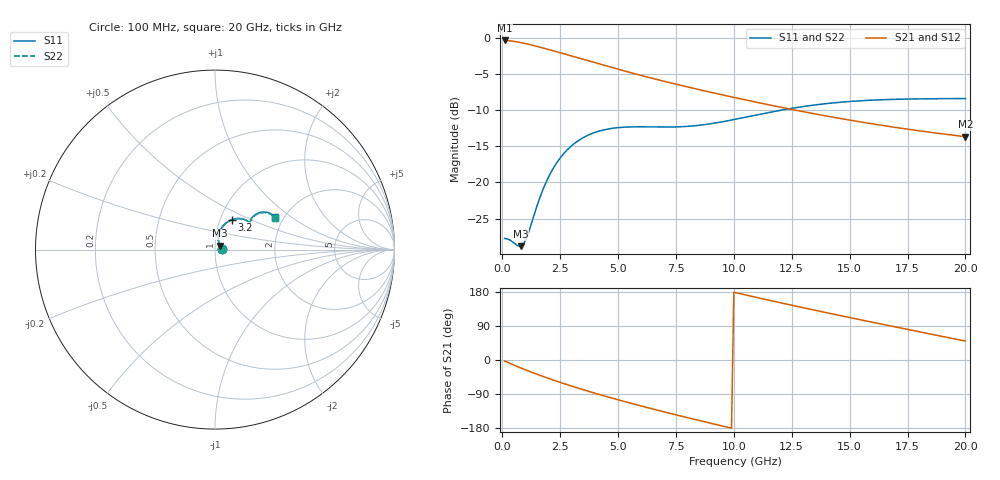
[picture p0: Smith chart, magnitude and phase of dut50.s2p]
! Touchstone file exported from HFSS 2023.1.0
!  File:  D:/Users/fzz/RDL_TSV/temp_RDL_TSV_50_1778745240.aedt
!  Generated:  4:04:11 %x4E0B%x5348  5%x6708 14, 2026
!  Design:  RDL_TSV
!  Project:  temp_RDL_TSV_50_1778745240
!  Setup:  Setup1
!  Solution:  Sweep
! Variables:
!  dtsv = 17.86um
!  hbump = 3um
!  htsv = 72.65um
!  ldown = 543.77um
!  lrdl = 639.32um
!  p = 40
!  p1 = 46.83um
!  rhole = 10um
!  subl = 4188.59um
!  t = 450um
!  tdown = 2.55um
!  trdl = 2.27um
!  viad = 10um
!  wdown = 12.67um
!  wrdl = 15.77um
!  xbump = 18um
# GHz S MA R 50.000000
! Terminal data exported
! Port[1] = TM1_1_T1
! Port[2] = TM1_4_T1
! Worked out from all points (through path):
!   200 points, 100 MHz to 20 GHz, reference 50 ohm
!   highest |S21| = -0.37 dB at 100 MHz (marker M1); lowest = -13.7 dB at 20 GHz (marker M2)
!   group delay of S21, straight-line fit = 41 ps
!   lowest |S11| = -28.8 dB at 800 MHz (marker M3), VSWR 1.08, Z = 53 + j2.25 ohm
!   |S11| at or under -10 dB: start of sweep to 12.05 GHz
!   |S22| runs from -28.8 to -8.5 dB; largest |S21 - S12| = 1.2e-14
!   S11 on the Smith chart (normalised r, x): 100 MHz: 1.09, +0.00; 3.2 GHz: 1.14, +0.39; 20 GHz: 1.81, +0.76
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0.1  0.04098 3.0  0.9583 -2.7  0.9583 -2.7  0.04098 3.0
! Gamma 0 0 0 0
! Port Impedance 50 0 50 0
0.4  0.03938 12.3  0.9494 -10.8  0.9494 -10.8  0.03938 12.3
0.8  0.03626 35.8  0.9267 -21.0  0.9267 -21.0  0.03626 35.8
1  0.03975 52.3  0.9123 -26.0  0.9123 -26.0  0.03975 52.3
1.3  0.0547 69.4  0.8885 -33.1  0.8885 -33.1  0.0547 69.5
1.7  0.08471 76.0  0.8552 -42.1  0.8552 -42.1  0.08472 76.0
2.1  0.1172 74.3  0.8215 -50.8  0.8215 -50.8  0.1172 74.3
2.6  0.1545 68.5  0.78 -61.1  0.78 -61.1  0.1546 68.5
3.2  0.1904 60.6  0.7321 -72.8  0.7321 -72.8  0.1906 60.6
3.5  0.2043 56.8  0.7092 -78.5  0.7092 -78.5  0.2045 56.8
4.3  0.2292 48.1  0.6517 -93.0  0.6517 -93.0  0.2296 48.1
5.1  0.2401 41.7  0.6001 -106.7  0.6001 -106.7  0.2406 41.7
5.9  0.2424 37.9  0.5543 -119.8  0.5543 -119.8  0.2432 37.8
6.8  0.2414 36.2  0.5091 -134.0  0.5091 -134.0  0.2424 36.1
7.5  0.2419 36.6  0.4778 -144.7  0.4778 -144.7  0.2429 36.3
8.3  0.2464 37.9  0.4456 -156.7  0.4456 -156.7  0.2473 37.6
10.1  0.2741 40.8  0.384 177.4  0.384 177.4  0.2742 40.3
11.7  0.3088 40.5  0.3392 155.2  0.3392 155.2  0.308 40.0
13.4  0.3416 37.8  0.2999 132.6  0.2999 132.6  0.3401 37.3
15  0.3627 34.4  0.2697 112.0  0.2697 112.0  0.3605 34.0
16.7  0.3744 31.3  0.2438 90.7  0.2438 90.7  0.3718 30.9
20  0.3803 28.1  0.207 50.1  0.207 50.1  0.3772 27.8
